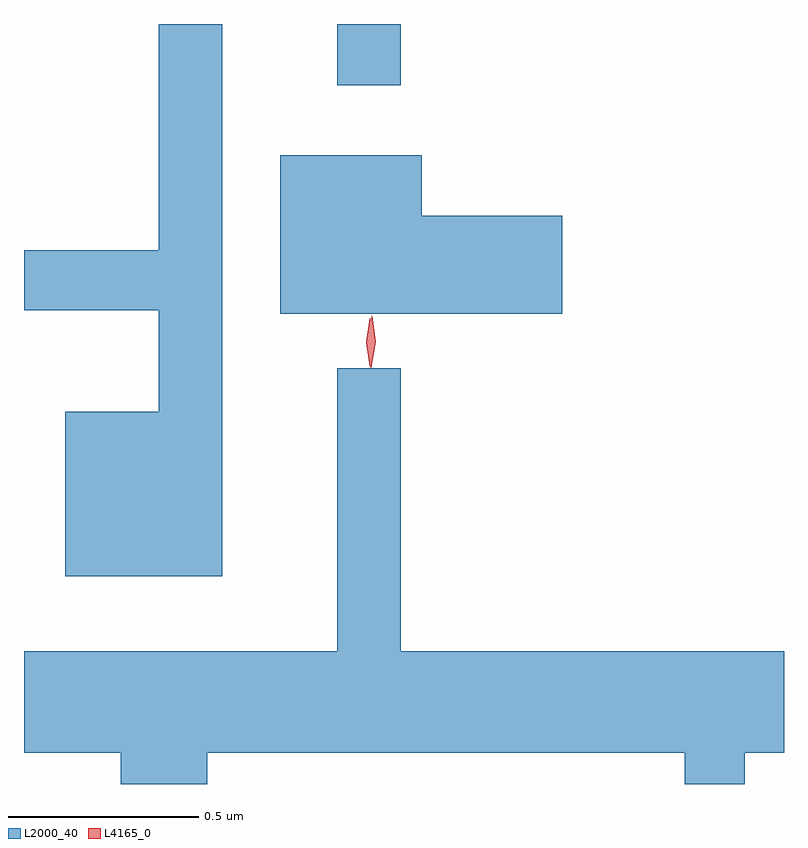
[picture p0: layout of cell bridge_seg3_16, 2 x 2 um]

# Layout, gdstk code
import gdstk
lib = gdstk.Library(unit=1e-6, precision=1e-09)
def R(c, l, rs):  # rectangles x0, y0, x1, y1
    for r in rs: c.add(gdstk.rectangle(r[:2], r[2:], *l))
def P(c, l, *ps):  # polygons
    for p in ps: c.add(gdstk.Polygon(p, *l))
L2000_40 = (2000, 40)
L4165_0 = (4165, 0)

bridge_seg3_16 = lib.new_cell('bridge_seg3_16')
R(bridge_seg3_16, L2000_40, [(1528.401,1214.353,1528.569,1214.514)])
P(bridge_seg3_16, L2000_40, [(1528.099,1214.514),(1527.931,1214.514),(1527.931,1213.919),(1527.577,1213.919),(1527.577,1213.761),(1527.931,1213.761),(1527.931,1213.494),(1527.686,1213.494),(1527.686,1213.061),(1528.099,1213.061)],
  [(1528.994,1214.009),(1528.624,1214.009),(1528.624,1214.169),(1528.251,1214.169),(1528.251,1213.751),(1528.994,1213.751)],
  [(1528.059,1212.596),(1529.316,1212.596),(1529.316,1212.514),(1529.474,1212.514),(1529.474,1212.596),(1529.577,1212.596),(1529.577,1212.864),(1528.569,1212.864),(1528.569,1213.608),(1528.401,1213.608),(1528.401,1212.864),(1527.577,1212.864),(1527.577,1212.596),(1527.831,1212.596),(1527.831,1212.514),(1528.059,1212.514)])
P(bridge_seg3_16, L4165_0, [(1528.49,1213.61),(1528.482,1213.678),(1528.492,1213.745),(1528.492,1213.746),(1528.493,1213.745),(1528.502,1213.678),(1528.491,1213.61),(1528.491,1213.61)],
  [(1528.487,1213.613),(1528.478,1213.676),(1528.487,1213.74),(1528.488,1213.74),(1528.488,1213.74),(1528.498,1213.676),(1528.488,1213.613),(1528.488,1213.613)])

lib.write_gds('bridge_seg3_16.gds')
